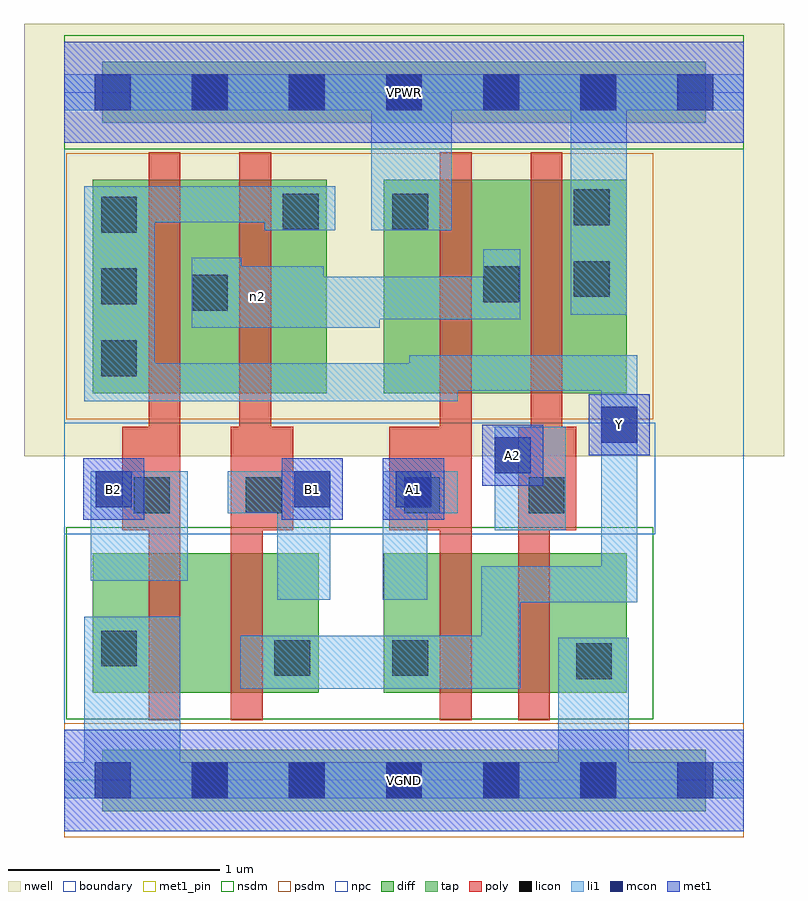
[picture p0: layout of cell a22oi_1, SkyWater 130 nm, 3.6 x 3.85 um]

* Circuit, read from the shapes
.subckt a22oi_1 A1 A2 B1 B2 VGND VPWR Y n2
XM1 n1 B2 VGND VGND sky130_fd_pr__nfet_01v8 w=0.66 l=0.15
XM2 Y B1 n1 VGND sky130_fd_pr__nfet_01v8 w=0.66 l=0.15
XM3 n3 A1 Y VGND sky130_fd_pr__nfet_01v8 w=0.66 l=0.15
XM4 VGND A2 n3 VGND sky130_fd_pr__nfet_01v8 w=0.66 l=0.15
XM5 n2 B2 Y VPWR sky130_fd_pr__pfet_01v8 w=1.01 l=0.15
XM6 Y B1 n2 VPWR sky130_fd_pr__pfet_01v8 w=1.01 l=0.15
XM7 n2 A1 VPWR VPWR sky130_fd_pr__pfet_01v8 w=1.01 l=0.15
XM8 VPWR A2 n2 VPWR sky130_fd_pr__pfet_01v8 w=1.01 l=0.15
.ends

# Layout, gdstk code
import gdstk
lib = gdstk.Library(unit=1e-6, precision=1e-09)
def R(c, l, rs):  # rectangles x0, y0, x1, y1
    for r in rs: c.add(gdstk.rectangle(r[:2], r[2:], *l))
def A(c, l, x, y, w, h, nx, ny, dx, dy):  # array of equal rectangles
    R(c, l, [(x+i*dx, y+j*dy, x+i*dx+w, y+j*dy+h) for i in range(nx) for j in range(ny)])
nwell = (64, 20)
diff = (65, 20)
tap = (65, 44)
poly = (66, 20)
licon = (66, 44)
li1 = (67, 20)
mcon = (67, 44)
met1_pin = (68, 16)
met1 = (68, 20)
nsdm = (93, 44)
psdm = (94, 20)
npc = (95, 20)
boundary = (235, 4)

a22oi_1 = lib.new_cell('a22oi_1')
R(a22oi_1, nwell, [(-0.19,1.535,3.41,3.585), (0,1.535,3.22,3.585)])
R(a22oi_1, diff, [(0.135,0.415,1.205,1.075), (1.515,0.415,2.665,1.075), (0.135,1.835,1.245,2.845), (1.515,1.835,2.665,2.845)])
R(a22oi_1, tap, [(0.18,-0.145,3.04,0.145), (0.18,3.115,3.04,3.405)])
R(a22oi_1, poly, [(0.4,0.285,0.55,2.975), (0.79,0.285,0.94,1.675), (1.78,0.285,1.93,2.975), (2.15,0.285,2.3,1.675), (0.275,1.185,0.55,1.675), (0.79,1.185,1.085,1.675), (0.83,1.185,0.98,2.975), (1.54,1.185,1.93,1.675), (2.15,1.185,2.425,1.675), (2.21,1.185,2.36,2.975)])
A(a22oi_1, licon, 0.605, -0.085, 0.17, 0.17, 5, 2, 0.46, 3.26)
A(a22oi_1, licon, 0.175, 1.915, 0.17, 0.17, 1, 3, 0, 0.34)
R(a22oi_1, licon, [(2.425,0.48,2.595,0.65), (0.995,0.495,1.165,0.665), (1.555,0.495,1.725,0.665), (0.175,0.54,0.345,0.71), (0.33,1.265,0.5,1.435), (0.86,1.265,1.03,1.435), (1.61,1.265,1.78,1.435), (2.2,1.265,2.37,1.435), (0.605,2.225,0.775,2.395), (1.985,2.265,2.155,2.435), (2.415,2.29,2.585,2.46), (1.035,2.61,1.205,2.78), (1.555,2.61,1.725,2.78), (2.415,2.63,2.585,2.8)])
R(a22oi_1, li1, [(0,-0.085,3.22,0.085), (0.095,-0.085,0.55,0.775), (2.34,-0.085,2.675,0.675), (0.835,0.435,2.16,0.685), (1.975,0.435,2.16,1.015), (1.975,0.845,2.715,1.015), (2.545,0.845,2.715,2.015), (1.01,0.855,1.26,1.465), (1.51,0.855,1.72,1.465), (0.125,0.945,0.585,1.465), (2.04,1.185,2.375,1.675), (0.775,1.265,1.26,1.465), (1.51,1.265,1.865,1.465), (0.095,1.795,0.43,2.815), (0.095,1.795,1.865,1.975), (1.635,1.845,2.715,2.015), (0.605,2.145,1.23,2.435), (0.605,2.145,1.495,2.385), (0.605,2.145,0.84,2.475), (0.605,2.185,2.16,2.385), (1.985,2.185,2.16,2.515), (2.4,2.205,2.665,3.345), (0.95,2.605,1.285,2.815), (1.455,2.605,1.835,3.345), (0.095,2.645,1.285,2.815), (0,3.175,3.22,3.345)])
A(a22oi_1, mcon, 0.145, -0.085, 0.17, 0.17, 7, 2, 0.46, 3.26)
R(a22oi_1, mcon, [(0.15,1.295,0.32,1.465), (1.09,1.295,1.26,1.465), (1.57,1.295,1.74,1.465), (2.04,1.455,2.21,1.625), (2.545,1.6,2.715,1.77)])
R(a22oi_1, met1_pin, [(0,-0.24,3.22,0.24), (0.09,1.235,0.38,1.525), (1.03,1.235,1.32,1.525), (1.51,1.235,1.8,1.525), (1.98,1.395,2.27,1.685), (2.485,1.54,2.775,1.83), (0,3.02,3.22,3.5)])
R(a22oi_1, met1, [(0,-0.24,3.22,0.24), (0.09,1.235,0.38,1.525), (1.03,1.235,1.32,1.525), (1.51,1.235,1.8,1.525), (1.98,1.395,2.27,1.685), (2.485,1.54,2.775,1.83), (0,3.02,3.22,3.5)])
R(a22oi_1, nsdm, [(0.01,0.29,2.79,1.2), (0,2.99,3.22,3.53)])
R(a22oi_1, psdm, [(0,-0.27,3.22,0.27), (0.01,1.71,2.79,2.97)])
R(a22oi_1, npc, [(0,1.165,2.8,1.695)])
R(a22oi_1, boundary, [(0,0,3.22,3.26)])
a22oi_1.add(gdstk.Label('n2', (0.917,2.29), layer=67, texttype=5))
a22oi_1.add(gdstk.Label('A1', (1.655,1.38), layer=68, texttype=5))
a22oi_1.add(gdstk.Label('A2', (2.125,1.54), layer=68, texttype=5))
a22oi_1.add(gdstk.Label('B1', (1.175,1.38), layer=68, texttype=5))
a22oi_1.add(gdstk.Label('B2', (0.235,1.38), layer=68, texttype=5))
a22oi_1.add(gdstk.Label('Y', (2.63,1.685), layer=68, texttype=5))
a22oi_1.add(gdstk.Label('VPWR', (1.61,3.26), layer=68, texttype=5))
a22oi_1.add(gdstk.Label('VGND', (1.61,0), layer=68, texttype=5))
a22oi_1.add(gdstk.Label('A1', (1.655,1.38), layer=68, texttype=16))
a22oi_1.add(gdstk.Label('A2', (2.125,1.54), layer=68, texttype=16))
a22oi_1.add(gdstk.Label('B1', (1.175,1.38), layer=68, texttype=16))
a22oi_1.add(gdstk.Label('B2', (0.235,1.38), layer=68, texttype=16))
a22oi_1.add(gdstk.Label('Y', (2.63,1.685), layer=68, texttype=16))
a22oi_1.add(gdstk.Label('VPWR', (1.61,3.26), layer=68, texttype=16))
a22oi_1.add(gdstk.Label('VGND', (1.61,0), layer=68, texttype=16))

lib.write_gds('a22oi_1.gds')
